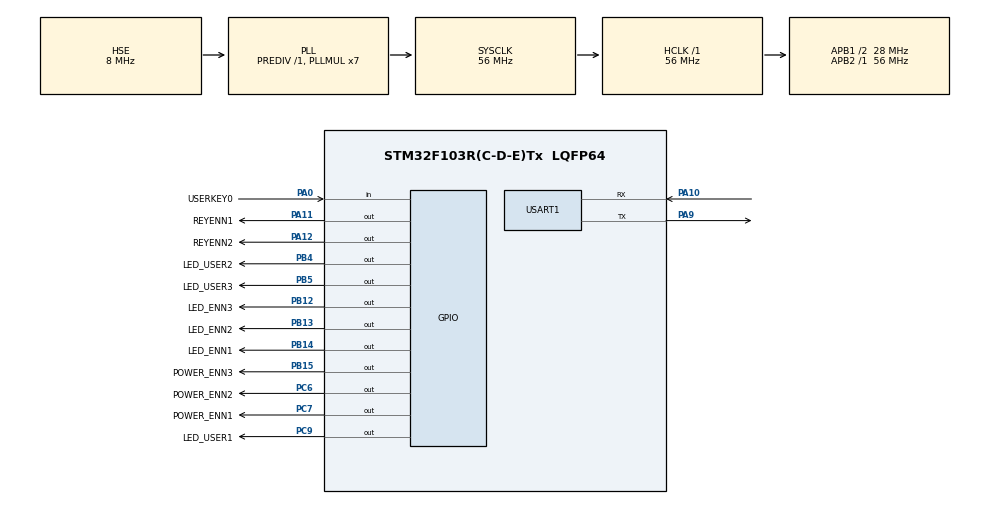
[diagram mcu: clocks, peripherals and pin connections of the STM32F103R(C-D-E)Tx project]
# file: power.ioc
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FREERTOS.Tasks01=LED0Task,0,128,FUNC_LED0;LED1Task,0,128,FUNC_LED1
FREERTOS.configUSE_IDLE_HOOK=1
Mcu.Family=STM32F1
Mcu.Name=STM32F103R(C-D-E)Tx
Mcu.Package=LQFP64
NVIC.PriorityGroup=NVIC_PRIORITYGROUP_4
NVIC.TIM6_IRQn=true\:5\:0\:false
NVIC.USART1_IRQn=true\:5\:0\:false
PA0-WKUP.GPIO_Label=USERKEY0
PA0-WKUP.GPIO_Mode=GPIO_MODE_INPUT
PA0-WKUP.GPIO_PuPd=GPIO_NOPULL
PA0-WKUP.Signal=GPIO_Input
PA10.Mode=Asynchronous
PA10.Signal=USART1_RX
PA11.GPIO_Label=REYENN1
PA11.GPIO_ModeDefaultOutputPP=GPIO_MODE_OUTPUT_OD
PA11.GPIO_Speed=GPIO_SPEED_LOW
PA11.Signal=GPIO_Output
PA12.GPIO_Label=REYENN2
PA12.GPIO_ModeDefaultOutputPP=GPIO_MODE_OUTPUT_OD
PA12.GPIO_Speed=GPIO_SPEED_LOW
PA12.Signal=GPIO_Output
PA13.Mode=Serial_Wire
PA13.Signal=SYS_JTMS-SWDIO
PA14.Mode=Serial_Wire
PA14.Signal=SYS_JTCK-SWCLK
PA9.Mode=Asynchronous
PA9.Signal=USART1_TX
PB12.GPIO_Label=LED_ENN3
PB12.GPIO_ModeDefaultOutputPP=GPIO_MODE_OUTPUT_OD
PB12.GPIO_Speed=GPIO_SPEED_LOW
PB12.Signal=GPIO_Output
PB13.GPIO_Label=LED_ENN2
PB13.GPIO_ModeDefaultOutputPP=GPIO_MODE_OUTPUT_OD
PB13.GPIO_Speed=GPIO_SPEED_LOW
PB13.Signal=GPIO_Output
PB14.GPIO_Label=LED_ENN1
PB14.GPIO_ModeDefaultOutputPP=GPIO_MODE_OUTPUT_OD
PB14.GPIO_Speed=GPIO_SPEED_LOW
PB14.Signal=GPIO_Output
PB15.GPIO_Label=POWER_ENN3
PB15.GPIO_ModeDefaultOutputPP=GPIO_MODE_OUTPUT_OD
PB15.GPIO_Speed=GPIO_SPEED_LOW
PB15.Signal=GPIO_Output
PB4.GPIO_Label=LED_USER2
PB4.GPIO_ModeDefaultOutputPP=GPIO_MODE_OUTPUT_PP
PB4.GPIO_Speed=GPIO_SPEED_LOW
PB4.Signal=GPIO_Output
PB5.GPIO_Label=LED_USER3
PB5.GPIO_ModeDefaultOutputPP=GPIO_MODE_OUTPUT_PP
PB5.GPIO_Speed=GPIO_SPEED_LOW
PB5.Signal=GPIO_Output
PC14-OSC32_IN.Mode=LSE-External-Oscillator
PC14-OSC32_IN.Signal=RCC_OSC32_IN
PC15-OSC32_OUT.Mode=LSE-External-Oscillator
PC15-OSC32_OUT.Signal=RCC_OSC32_OUT
PC6.GPIO_Label=POWER_ENN2
PC6.GPIO_ModeDefaultOutputPP=GPIO_MODE_OUTPUT_OD
PC6.GPIO_Speed=GPIO_SPEED_LOW
PC6.Signal=GPIO_Output
PC7.GPIO_Label=POWER_ENN1
PC7.GPIO_ModeDefaultOutputPP=GPIO_MODE_OUTPUT_OD
PC7.GPIO_Speed=GPIO_SPEED_LOW
PC7.Signal=GPIO_Output
PC9.GPIO_Label=LED_USER1
PC9.GPIO_ModeDefaultOutputPP=GPIO_MODE_OUTPUT_PP
PC9.GPIO_Speed=GPIO_SPEED_LOW
PC9.Signal=GPIO_Output
PD0-OSC_IN.Mode=HSE-External-Oscillator
PD0-OSC_IN.Signal=RCC_OSC_IN
PD1-OSC_OUT.Mode=HSE-External-Oscillator
PD1-OSC_OUT.Signal=RCC_OSC_OUT
ProjectManager.TargetToolchain=MDK-ARM V5
RCC.ADCPresc=RCC_ADCPCLK2_DIV6
RCC.AHBFreq_Value=56000000
RCC.APB1CLKDivider=RCC_HCLK_DIV2
RCC.APB1Freq_Value=28000000
RCC.APB1TimFreq_Value=56000000
RCC.APB2Freq_Value=56000000
RCC.APB2TimFreq_Value=56000000
RCC.HCLKFreq_Value=56000000
RCC.HSIState=RCC_HSI_ON
RCC.PLLMUL=RCC_PLL_MUL7
RCC.PLLSourceVirtual=RCC_PLLSOURCE_HSE
RCC.SYSCLKFreq_VALUE=56000000
RCC.SYSCLKSource=RCC_SYSCLKSOURCE_PLLCLK
RCC.USBFreq_Value=37333333.333333336
RCC.USBPrescaler=RCC_USBPLLCLK_DIV1_5
TIM6.Period=10
TIM6.Prescaler=55999
VP_FREERTOS_VS_ENABLE.Mode=Enabled
VP_TIM6_VS_ClockSourceINT.Mode=Enable_Timer
VP_TIM7_VS_ClockSourceINT.Mode=Enable_Timer
board=power

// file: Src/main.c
/**
  ******************************************************************************
  * File Name          : main.c
  * Description        : Main program body
  ******************************************************************************
  *
  * COPYRIGHT(c) 2017 STMicroelectronics
  *
  * Redistribution and use in source and binary forms, with or without modification,
  * are permitted provided that the following conditions are met:
  *   1. Redistributions of source code must retain the above copyright notice,
  *      this list of conditions and the following disclaimer.
  *   2. Redistributions in binary form must reproduce the above copyright notice,
  *      this list of conditions and the following disclaimer in the documentation
  *      and/or other materials provided with the distribution.
  *   3. Neither the name of STMicroelectronics nor the names of its contributors
  *      may be used to endorse or promote products derived from this software
  *      without specific prior written permission.
  *
  * THIS SOFTWARE IS PROVIDED BY THE COPYRIGHT HOLDERS AND CONTRIBUTORS "AS IS"
  * AND ANY EXPRESS OR IMPLIED WARRANTIES, INCLUDING, BUT NOT LIMITED TO, THE
  * IMPLIED WARRANTIES OF MERCHANTABILITY AND FITNESS FOR A PARTICULAR PURPOSE ARE
  * DISCLAIMED. IN NO EVENT SHALL THE COPYRIGHT HOLDER OR CONTRIBUTORS BE LIABLE
  * FOR ANY DIRECT, INDIRECT, INCIDENTAL, SPECIAL, EXEMPLARY, OR CONSEQUENTIAL
  * DAMAGES (INCLUDING, BUT NOT LIMITED TO, PROCUREMENT OF SUBSTITUTE GOODS OR
  * SERVICES; LOSS OF USE, DATA, OR PROFITS; OR BUSINESS INTERRUPTION) HOWEVER
  * CAUSED AND ON ANY THEORY OF LIABILITY, WHETHER IN CONTRACT, STRICT LIABILITY,
  * OR TORT (INCLUDING NEGLIGENCE OR OTHERWISE) ARISING IN ANY WAY OUT OF THE USE
  * OF THIS SOFTWARE, EVEN IF ADVISED OF THE POSSIBILITY OF SUCH DAMAGE.
  *
  ******************************************************************************
  */
#include "stm32f1xx_hal.h"
#include "cmsis_os.h"
#include "tim.h"
#include "usart.h"
#include "gpio.h"

/* USER CODE BEGIN PV */
/* Private variables ---------------------------------------------------------*/

/* USER CODE END PV */

void SystemClock_Config(void);
void MX_FREERTOS_Init(void);

/* USER CODE BEGIN PFP */
/* Private function prototypes -----------------------------------------------*/

/* USER CODE END PFP */

int main(void)
{

  /* MCU Configuration----------------------------------------------------------*/

  /* Reset of all peripherals, Initializes the Flash interface and the Systick. */
  HAL_Init();

  /* Configure the system clock */
  SystemClock_Config();

  /* Initialize all configured peripherals */
  MX_GPIO_Init();
  MX_TIM6_Init();
  MX_TIM7_Init();
  MX_USART1_UART_Init();

  /* USER CODE BEGIN 2 */
    HAL_TIM_Base_Start_IT(&htim6);
    HAL_UART_Receive_IT(&huart1,&Usart1_Buffer.buffer_temp,1);//COM
    HAL_UART_Transmit_IT(&huart1," RESET ",10);
//    gpiomos3=0	;//_WritePin(GPIOB,GPIO_PIN_12,GPIO_PIN_SET)
//    gpiomos2=0	;//_WritePin(GPIOB,GPIO_PIN_13,GPIO_PIN_SET)
//    gpiomos1=0	;//_WritePin(GPIOB,GPIO_PIN_14,GPIO_PIN_SET)
//    gpiopwr3=0	;//_WritePin(GPIOB,GPIO_PIN_15,GPIO_PIN_SET)
//    gpiopwr2=0	;//_WritePin(GPIOC,GPIO_PIN_6,GPIO_PIN_SET)
//    gpiopwr1=0	;//_WritePin(GPIOC,GPIO_PIN_7,GPIO_PIN_SET)
//    gpioret1=0	;//_WritePin(GPIOA,GPIO_PIN_11,GPIO_PIN_SET)
//    gpioret2=0	;//_WritePin(GPIOA,GPIO_PIN_12,GPIO_PIN_SET)
set_gpio_time(CTRL_LAMP,CTRL_OPEN,2);
set_gpio_time(CTRL_FAN,CTRL_OPEN,7);
  /* USER CODE END 2 */

  /* Call init function for freertos objects (in freertos.c) */
  MX_FREERTOS_Init();

  /* Start scheduler */
  osKernelStart();

  /* We should never get here as control is now taken by the scheduler */

  /* Infinite loop */
    while (1)
    {

  /* USER CODE BEGIN 3 */
       // DoUsartFuction_Rxd();
    }
  /* USER CODE END 3 */

}

/** System Clock Configuration
*/
void SystemClock_Config(void)
{

  RCC_OscInitTypeDef RCC_OscInitStruct;
  RCC_ClkInitTypeDef RCC_ClkInitStruct;

  RCC_OscInitStruct.OscillatorType = RCC_OSCILLATORTYPE_HSE;
  RCC_OscInitStruct.HSEState = RCC_HSE_ON;
  RCC_OscInitStruct.HSEPredivValue = RCC_HSE_PREDIV_DIV1;
  RCC_OscInitStruct.PLL.PLLState = RCC_PLL_ON;
  RCC_OscInitStruct.PLL.PLLSource = RCC_PLLSOURCE_HSE;
  RCC_OscInitStruct.PLL.PLLMUL = RCC_PLL_MUL7;
  HAL_RCC_OscConfig(&RCC_OscInitStruct);

  RCC_ClkInitStruct.ClockType = RCC_CLOCKTYPE_SYSCLK|RCC_CLOCKTYPE_PCLK1;
  RCC_ClkInitStruct.SYSCLKSource = RCC_SYSCLKSOURCE_PLLCLK;
  RCC_ClkInitStruct.AHBCLKDivider = RCC_SYSCLK_DIV1;
  RCC_ClkInitStruct.APB1CLKDivider = RCC_HCLK_DIV2;
  RCC_ClkInitStruct.APB2CLKDivider = RCC_HCLK_DIV1;
  HAL_RCC_ClockConfig(&RCC_ClkInitStruct, FLASH_LATENCY_2);

  HAL_SYSTICK_Config(HAL_RCC_GetHCLKFreq()/1000);

  HAL_SYSTICK_CLKSourceConfig(SYSTICK_CLKSOURCE_HCLK);

}

/************************ (C) COPYRIGHT STMicroelectronics *****END OF FILE****/

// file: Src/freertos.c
/**
  ******************************************************************************
  * File Name          : freertos.c
  * Description        : Code for freertos applications
  ******************************************************************************
  *
  * COPYRIGHT(c) 2017 STMicroelectronics
  *
  * Redistribution and use in source and binary forms, with or without modification,
  * are permitted provided that the following conditions are met:
  *   1. Redistributions of source code must retain the above copyright notice,
  *      this list of conditions and the following disclaimer.
  *   2. Redistributions in binary form must reproduce the above copyright notice,
  *      this list of conditions and the following disclaimer in the documentation
  *      and/or other materials provided with the distribution.
  *   3. Neither the name of STMicroelectronics nor the names of its contributors
  *      may be used to endorse or promote products derived from this software
  *      without specific prior written permission.
  *
  * THIS SOFTWARE IS PROVIDED BY THE COPYRIGHT HOLDERS AND CONTRIBUTORS "AS IS"
  * AND ANY EXPRESS OR IMPLIED WARRANTIES, INCLUDING, BUT NOT LIMITED TO, THE
  * IMPLIED WARRANTIES OF MERCHANTABILITY AND FITNESS FOR A PARTICULAR PURPOSE ARE
  * DISCLAIMED. IN NO EVENT SHALL THE COPYRIGHT HOLDER OR CONTRIBUTORS BE LIABLE
  * FOR ANY DIRECT, INDIRECT, INCIDENTAL, SPECIAL, EXEMPLARY, OR CONSEQUENTIAL
  * DAMAGES (INCLUDING, BUT NOT LIMITED TO, PROCUREMENT OF SUBSTITUTE GOODS OR
  * SERVICES; LOSS OF USE, DATA, OR PROFITS; OR BUSINESS INTERRUPTION) HOWEVER
  * CAUSED AND ON ANY THEORY OF LIABILITY, WHETHER IN CONTRACT, STRICT LIABILITY,
  * OR TORT (INCLUDING NEGLIGENCE OR OTHERWISE) ARISING IN ANY WAY OUT OF THE USE
  * OF THIS SOFTWARE, EVEN IF ADVISED OF THE POSSIBILITY OF SUCH DAMAGE.
  *
  ******************************************************************************
  */

#include "FreeRTOS.h"
#include "task.h"
#include "cmsis_os.h"

/* USER CODE BEGIN Includes */
#include "tim.h"
#include "gpio.h"
#include "usart.h"
#include "TASK.h"
/* USER CODE END Includes */

osThreadId INPUTTaskHandle;
osThreadId OUTPUTTaskHandle;
osThreadId SERVICETaskHandle;

void FUNC_INPUT(void const * argument);
void FUNC_OUTPUT(void const * argument);
void FUNC_SERVICE(void const * argument);
void MX_FREERTOS_Init(void); /* (MISRA C 2004 rule 8.1) */

/* Hook prototypes */
void vApplicationIdleHook(void);

/* USER CODE BEGIN 2 */
void vApplicationIdleHook( void )
{
   /* vApplicationIdleHook() will only be called if configUSE_IDLE_HOOK is set
   to 1 in FreeRTOSConfig.h. It will be called on each iteration of the idle
   task. It is essential that code added to this hook function never attempts
   to block in any way (for example, call xQueueReceive() with a block time
   specified, or call vTaskDelay()). If the application makes use of the
   vTaskDelete() API function (as this demo application does) then it is also
   important that vApplicationIdleHook() is permitted to return to its calling
   function, because it is the responsibility of the idle task to clean up
   memory allocated by the kernel to any task that has since been deleted. */
	char i=0;
	i++;
}
/* USER CODE END 2 */

/* Init FreeRTOS */

void MX_FREERTOS_Init(void) {

  /* Create the thread(s) */
  /* definition and creation of LED0Task */
  osThreadDef(INPUTTask, FUNC_INPUT, osPriorityNormal, 0, 128);
 INPUTTaskHandle = osThreadCreate(osThread(INPUTTask), NULL);

  /* definition and creation of LED1Task */
    osThreadDef(OUTPUTTask, FUNC_OUTPUT, osPriorityNormal, 0, 128);
 OUTPUTTaskHandle = osThreadCreate(osThread(OUTPUTTask), NULL);
	  osThreadDef(SERVICETask, FUNC_SERVICE, osPriorityNormal, 0, 128);
  SERVICETaskHandle = osThreadCreate(osThread(SERVICETask), NULL);

}

/* FUNC_LED0 function */
void FUNC_OUTPUT(void const * argument)
{

  /* USER CODE BEGIN FUNC_LED0 */
  /* Infinite loop */
  for(;;)
  {

		if(gpioled1==1){HAL_GPIO_WritePin(GPIOC,GPIO_PIN_9,GPIO_PIN_RESET);}
		else{HAL_GPIO_WritePin(GPIOC,GPIO_PIN_9,GPIO_PIN_SET);}
		if(gpioled2==1){HAL_GPIO_WritePin(GPIOB,GPIO_PIN_4,GPIO_PIN_RESET);}
		else{HAL_GPIO_WritePin(GPIOB,GPIO_PIN_4,GPIO_PIN_SET);}
		if(gpioled3==1){HAL_GPIO_WritePin(GPIOB,GPIO_PIN_5,GPIO_PIN_RESET);}
		else{HAL_GPIO_WritePin(GPIOB,GPIO_PIN_5,GPIO_PIN_SET);}

		if(gpiomos1==1){HAL_GPIO_WritePin(GPIOB,GPIO_PIN_14,GPIO_PIN_RESET);}
		else{HAL_GPIO_WritePin(GPIOB,GPIO_PIN_14,GPIO_PIN_SET);}
		if(gpiomos2==1){HAL_GPIO_WritePin(GPIOB,GPIO_PIN_13,GPIO_PIN_RESET);}
		else{HAL_GPIO_WritePin(GPIOB,GPIO_PIN_13,GPIO_PIN_SET);}
		if(gpiomos3==1){HAL_GPIO_WritePin(GPIOB,GPIO_PIN_12,GPIO_PIN_RESET);}
		else{HAL_GPIO_WritePin(GPIOB,GPIO_PIN_12,GPIO_PIN_SET);}

		if(gpiopwr1==1){HAL_GPIO_WritePin(GPIOC,GPIO_PIN_7,GPIO_PIN_RESET);}
		else{HAL_GPIO_WritePin(GPIOC,GPIO_PIN_7,GPIO_PIN_SET);}
		if(gpiopwr2==1){HAL_GPIO_WritePin(GPIOC,GPIO_PIN_6,GPIO_PIN_RESET);}
		else{HAL_GPIO_WritePin(GPIOC,GPIO_PIN_6,GPIO_PIN_SET);}
		if(gpiopwr3==1){HAL_GPIO_WritePin(GPIOB,GPIO_PIN_15,GPIO_PIN_RESET);}
		else{HAL_GPIO_WritePin(GPIOB,GPIO_PIN_15,GPIO_PIN_SET);}

		if(gpioret1==1){HAL_GPIO_WritePin(GPIOA,GPIO_PIN_11,GPIO_PIN_RESET);}
		else{HAL_GPIO_WritePin(GPIOA,GPIO_PIN_11,GPIO_PIN_SET);}
		if(gpioret2==1){HAL_GPIO_WritePin(GPIOA,GPIO_PIN_12,GPIO_PIN_RESET);}
		else{HAL_GPIO_WritePin(GPIOA,GPIO_PIN_12,GPIO_PIN_SET);}

		taskYIELD();
  }
  /* USER CODE END FUNC_LED0 */
}
void FUNC_SERVICE(void const * argument)
{
portTickType PreviousWakeTime=0;
	PreviousWakeTime=xTaskGetTickCount();
  /* USER CODE BEGIN FUNC_LED0 */
  /* Infinite loop */
  for(;;)
  {
		//osDelayUntil(PreviousWakeTime,10);
		//osDelay(10);
		vTaskDelayUntil(&PreviousWakeTime,10/portTICK_RATE_MS);
   check_gpio_time();
    led1_num++;
    if((led1_num<led1_off))
    {
        gpioled1=0;
    }
    else if(led1_num<led1_off+led1_on)
    {
        gpioled1=1;
    }
    else
    {
        led1_num=0;
    }
    switch(HIMIN_LED1_F)
    {
    case 0:
        led1_off=100;
        led1_on=0;
        break;
    case 1:
        led1_off=150;
        led1_on=50;
        break;
    case 2:
        led1_off=50;
        led1_on=50;
        break;
    case 3:
        led1_off=200;
        led1_on=200;
        break;
    case 4:
        led1_off=50;
        led1_on=150;
        break;
    case 5:
        led1_off=0;
        led1_on=100;
        break;
    }
    led2_num++;
    if((led2_num<led2_off))
    {
        gpioled2=0;
    }
    else if(led2_num<led2_off+led2_on)
    {
        gpioled2=1;
    }
    else
    {
        led2_num=0;
    }
    switch(HIMIN_LED2_F)
    {
    case 0:
        led2_off=100;
        led2_on=0;
        break;
    case 1:
        led2_off=150;
        led2_on=50;
        break;
    case 2:
        led2_off=50;
        led2_on=50;
        break;
    case 3:
        led2_off=200;
        led2_on=200;
        break;
    case 4:
        led2_off=50;
        led2_on=150;
        break;
    case 5:
        led2_off=0;
        led2_on=100;
        break;
    }
led3_num++;
    if((led3_num<led3_off))
    {
        gpioled3=0;
    }
    else if(led3_num<led3_off+led3_on)
    {
        gpioled3=1;
    }
    else
    {
        led3_num=0;
    }
    switch(HIMIN_LED3_F)
    {
    case 0:
        led3_off=100;
        led3_on=0;
        break;
    case 1:
        led3_off=150;
        led3_on=50;
        break;
    case 2:
        led3_off=50;
        led3_on=50;
        break;
    case 3:
        led3_off=200;
        led3_on=200;
        break;
    case 4:
        led3_off=50;
        led3_on=150;
        break;
    case 5:
        led3_off=0;
        led3_on=100;
        break;
  }}
  /* USER CODE END FUNC_LED0 */
}
/* FUNC_LED1 function */
void FUNC_INPUT(void const * argument)
{
  /* USER CODE BEGIN FUNC_LED1 */
  /* Infinite loop */
  for(;;)
  {
	DoUsartFuction_Rxd();
  }
  /* USER CODE END FUNC_LED1 */
}

/************************ (C) COPYRIGHT STMicroelectronics *****END OF FILE****/
